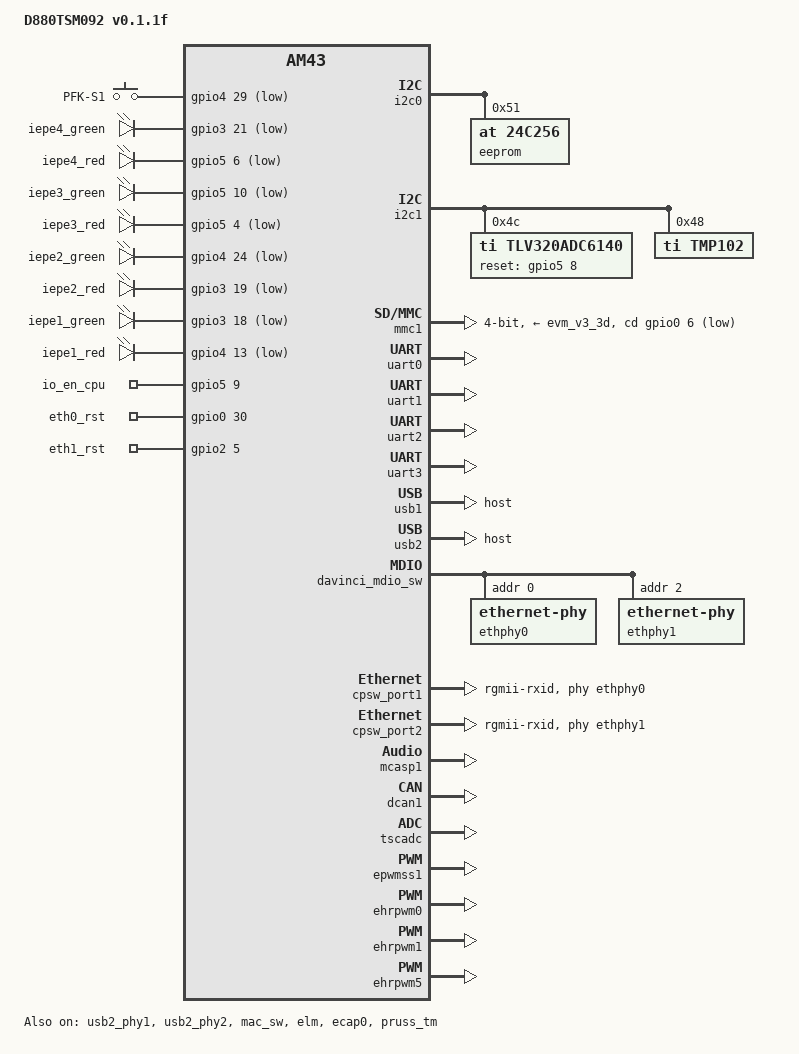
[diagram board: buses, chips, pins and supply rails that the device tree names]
/*
 * MIS www.mistec.de SO-DIMM D880 TSM Modul 092
 * Copyright (C) 2015 - http://www.mistec.de Robert Woerle
 *
 * Copied from arch/arm/boot/dts/am437x-gp-evm.dts which has
 * Copyright (C) 2013 Texas Instruments Incorporated - http://www.ti.com/
 *
 * This program is free software; you can redistribute it and/or modify
 * it under the terms of the GNU General Public License version 2 as
 * published by the Free Software Foundation.
 */

/* AM437x TSM Mistec */

/dts-v1/;

#include "am437x-misdimm.dtsi"
#include <dt-bindings/pinctrl/am43xx.h>
#include <dt-bindings/pwm/pwm.h>
#include <dt-bindings/interrupt-controller/irq.h>

/ {
	model = "D880TSM092 v0.1.1f";
	compatible = "ti,am4372","ti,am43";

	aliases {
		serial1 = &uart1;
		serial2 = &uart2;
		serial3 = &uart3;
		rtc0 = &rtc;
	};

	sound0: sound0 {
		compatible = "simple-audio-card";
		simple-audio-card,name = "D880TSM092";
		#sound-dai-cells = <0>;
		simple-audio-card,dai-link@0 {
			format = "i2s";
			bitclock-master = <&sound0_master>;
			frame-master = <&sound0_master>;
			sound0_master: cpu {
				sound-dai = <&mcasp1>;
				system-clock-frequency = <12000000>;

				dai-tdm-slot-num = <4>;
				dai-tdm-slot-width = <32>;
				dai-tdm-slot-tx-mask = <1 1 1 1>;
				dai-tdm-slot-rx-mask = <1 1 1 1>;
			};

			codec {
				sound-dai = <&tlv320adc6140>;
				system-clock-frequency = <12000000>;
			};
		};
	};

	S2_IN {
		pinctrl-names = "default";
		pinctrl-0 = <&timer7_pin>;
		timer = <&timer7>;
		compatible = "cnt-dmtimer";
		status = "okay";
	};

	N1_IN {
		pinctrl-names = "default";
		pinctrl-0 = <&timer6_pin>;
		timer = <&timer6>;
		compatible = "cnt-dmtimer";
		status = "okay";
	};

	N2_IN {
		pinctrl-names = "default";
		pinctrl-0 = <&timer5_pin>;
		timer = <&timer5>;
		compatible = "cnt-dmtimer";
		status = "okay";
	};

	gpio-keys {
		compatible = "gpio-keys";

		/* 0x224 P600_186 AD20 cam0_data7.gpio4_29 TEST */
		SW1 {
			label = "PFK-S1";
			linux,code = <59>; /* F1 0xffbe */
			gpios = <&gpio4 29 GPIO_ACTIVE_LOW>;
			debounce-interval = <5>;
		};
	};

	leds {
		compatible = "gpio-leds";

		/* 0x1ac P600_162 L24  mcasp0_ahclkx.gpio3_21 IEPE4_G */
		led_iepe4_g {
			label = "iepe4_green";
			gpios = <&gpio3 21 GPIO_ACTIVE_LOW>;
			linux,default-trigger = "off";
		};

		/* 0x258 P600_164 P24  spi4_d1.gpio5_6 IEPE4_R */
		led_iepe4_r {
			label = "iepe4_red";
			gpios = <&gpio5 6 GPIO_ACTIVE_LOW>;
			linux,default-trigger = "off";
		};

		/* 0x240 P600_170 G20  gpio5_10.gpio5_10 IEPE3_G */
		led_iepe3_g {
			label = "iepe3_green";
			gpios = <&gpio5 10 GPIO_ACTIVE_LOW>;
			linux,default-trigger = "off";
		};

		/* 0x250 P600_172 P25 spi4_sclk.gpio5_4 IEPE3_R*/
		led_iepe3_r {
			label = "iepe3_red";
			gpios = <&gpio5 4 GPIO_ACTIVE_LOW>;
			linux,default-trigger = "off";
		};

		/* 0x220 P600_174 AE20 cam0_data6.gpio4_28 IEPE2_G */
		led_iepe2_g {
			label = "iepe2_green";
			gpios = <&gpio4 24 GPIO_ACTIVE_LOW>;
			linux,default-trigger = "off";
		};

		/* 0x1a4 P600_176 K23  mcasp0_fsr.gpio3_19 IEPE2_R */
		led_iepe2_r {
			label = "iepe2_red";
			gpios = <&gpio3 19 GPIO_ACTIVE_LOW>;
			linux,default-trigger = "off";
		};

		/* 0x1a0 P600_180 L23  mcasp0_aclkr.gpio3_18 IEPE1_G */
		led_iepe1_g {
			label = "iepe1_green";
			gpios = <&gpio3 18 GPIO_ACTIVE_LOW>;
			linux,default-trigger = "off";
		};

		/* 0x1e4 P600_182 AB25 cam1_wen.gpio4_13 IEPE1_R */
		led_iepe1_r {
			label = "iepe1_red";
			gpios = <&gpio4 13 GPIO_ACTIVE_LOW>;
			linux,default-trigger = "off";
		};

		/* 0x23c P600_142 F24 143 gpio5_9.gpio5_9 */
		io_en_cpu {
			label = "io_en_cpu";
			gpios = <&gpio5 9 GPIO_ACTIVE_HIGH>;
			linux,default-trigger = "default-on";
		};

		/* 0x070 P600_178 A2 gpmc_wait0.gpio0_30 ETH1_RST */
		eth0_phy_rst {
			label = "eth0_rst";
			gpios = <&gpio0 30 GPIO_ACTIVE_HIGH>;
			linux,default-trigger = "default-off";
		};

		/* P600_156 C10  gpmc_be0n_cle.gpio2_5 ETH2_RST */
		eth1_phy_rst {
			label = "eth1_rst";
			gpios = <&gpio2 5 GPIO_ACTIVE_HIGH>;
			linux,default-trigger = "default-off";
		};
	};
};

&am43xx_pinmux {
	pinctrl-names = "default";
	pinctrl-0 = <&sodimm_pins &unused_pins>;


	sodimm_pins: sodimm_pins {
		pinctrl-single,pins = <

			/* ClassName ADC01 */
			/* P600_25 AA12 ADC0_AIN0 */
			/* P600_27 Y12  ADC0_AIN1 */
			/* P600_29 Y13  ADC0_AIN2 */
			/* P600_31 AA13 ADC0_AIN3 */
			/* P600_33 AB13 ADC0_AIN4 */
			/* P600_35 AC13 ADC0_AIN5 */
			/* P600_37 AD13 ADC0_AIN6 */
			/* P600_39 AE13 ADC0_AIN7 */

			/* P600_26 AC16 ADC1_AIN0 */
			/* P600_28 AB16 ADC1_AIN1 */
			/* P600_30 AA16 ADC1_AIN2 */
			/* P600_32 AB15 ADC1_AIN3 */
			/* P600_34 AA15 ADC1_AIN4 */
			/* P600_36 Y15  ADC1_AIN5 */
			/* P600_38 AE16 ADC1_AIN6 */
			/* P600_40 AD16 ADC1_AIN7 */


			0x16C (PIN_OUTPUT_PULLDOWN | MUX_MODE7) /* P600_58 J25 uart0_rtsn.gpio1_9 */
			0x168 (PIN_OUTPUT_PULLDOWN | MUX_MODE7) /* P600_60 L25 uart0_ctsn.gpio1_8 */

			0x0ec (PIN_INPUT_PULLDOWN | MUX_MODE7) /* P600_73  A24 dss_acbias.gpio2_25 */
			0x0e0 (PIN_INPUT_PULLDOWN | MUX_MODE7) /* P600_74  B23 dss_vsync.gpio2_22 */
			0x0e4 (PIN_INPUT_PULLDOWN | MUX_MODE7) /* P600_75  B23 dss_hsync.gpio2_23 */
			0x0e8 (PIN_INPUT_PULLDOWN | MUX_MODE7) /* P600_76  A22 dss_pclk.gpio2_24 */

			0x0b4 (PIN_INPUT_PULLDOWN | MUX_MODE7) /* P600_82  B20 dss_data5.gpio2_11 */
			0x0b8 (PIN_INPUT_PULLDOWN | MUX_MODE7) /* P600_83  C20 dss_data6.gpio2_12 */
			0x0bc (PIN_INPUT_PULLDOWN | MUX_MODE7) /* P600_84  E19 dss_data7.gpio2_13 */
			0x0c0 (PIN_INPUT_PULLDOWN | MUX_MODE7) /* P600_85  A19 dss_data8.gpio2_14 */

			0x0c8 (PIN_INPUT_PULLDOWN | MUX_MODE7) /* P600_87  A18 dss_data10.gpio2_16 */

			0x0d0 (PIN_INPUT_PULLDOWN | MUX_MODE7) /* P600_89  C19 dss_data12.gpio0_8 */
			0x0d8 (PIN_INPUT_PULLDOWN | MUX_MODE7) /* P600_91  C17 dss_data14.gpio0_10 */

			/* ClassName:SPI */
			0x190 (PIN_INPUT_PULLDOWN | MUX_MODE7) /* P600_106 N24  mcasp0_aclkx.gpio3_14 */
			0x194 (PIN_INPUT_PULLDOWN | MUX_MODE7) /* P600_108 N22  mcasp0_fsx.gpio3_15 */
			0x198 (PIN_INPUT_PULLDOWN | MUX_MODE7) /* P600_110 H23  mcasp0_axr0.gpio3_16 */
			0x19c (PIN_INPUT_PULLDOWN | MUX_MODE7) /* P600_112 M24  mcasp0_ahclkr.gpio3_17 */
			0x1d8 (PIN_INPUT_PULLDOWN | MUX_MODE7) /* P600_114 AC23 cam1_vd.gpio4_10 */
			0x1dc (PIN_INPUT_PULLDOWN | MUX_MODE7) /* P600_116 AE21 cam1_pclk.gpio4_11 */

			/* ClassName:GPIOS */
			0x070 (PIN_OUTPUT_PULLDOWN | MUX_MODE7) /* P600_178 A2 gpmc_wait0.gpio0_30 ETH1_RST*/
			0x074 (PIN_INPUT_PULLDOWN | MUX_MODE7) /* P600_150 B3   gpmc_wpn.gpio0_31 UART2_RI */
			0x078 (PIN_INPUT_PULLDOWN | MUX_MODE7) /* P600_152 A3   gpmc_be1n.gpio1_28 USB0_nOC */
			0x07c (PIN_INPUT_PULLDOWN | MUX_MODE7) /* P600_146 A8   gpmc_csn0.gpio1_29 UART 1_RI */
			0x090 (PIN_OUTPUT_PULLDOWN | MUX_MODE7) /* P600_144 A9 gpmc_advn_ale.gpio2_2 S1_OUT */
			0x09c (PIN_OUTPUT_PULLDOWN | MUX_MODE7) /* P600_156 C10  gpmc_be0n_cle.gpio2_5 ETH2_RST */
			0x154 (PIN_INPUT_PULLDOWN | MUX_MODE7) /* P600_154 T22  spi0_d0.gpio0_3 USB1_nOC */
			0x1ac (PIN_OUTPUT_PULLDOWN | MUX_MODE7) /* P600_162 L24  mcasp0_ahclkx.gpio3_21 IEPE4_R */
			0x1f0 (PIN_INPUT_PULLDOWN | MUX_MODE7) /* P600_50 AD21 cam1_data2.gpio4_16 */
			0x200 (PIN_INPUT_PULLDOWN | MUX_MODE7) /* P600_49  AD23 cam1_data6.gpio4_20 */
			0x218 (PIN_OUTPUT_PULLDOWN | MUX_MODE7)/* P600_148 AE19 cam0_data4.gpio4_26 S2_OUT */
			0x220 (PIN_OUTPUT_PULLDOWN | MUX_MODE7) /* P600_174 AE20 cam0_data6.gpio4_28 IEPE2_G */
			/* 0x224 (PIN_INPUT_PULLDOWN | MUX_MODE7)  P600_186 AD20 cam0_data7.gpio4_29 TEST */
			0x230 (PIN_INPUT_PULLDOWN | MUX_MODE7) 	/* P600_59 H22 uart3_ctsn.gpio5_0 */
			0x258 (PIN_OUTPUT_PULLDOWN | MUX_MODE7) /* P600_164 P24  spi4_d1.gpio5_6 IEPE4_G */
			0x264 (PIN_OUTPUT_PULLDOWN | MUX_MODE7) /* P600_158 P22  spi2_d0.gpio3_22 */
			0x278 (PIN_OUTPUT_PULLUP | MUX_MODE7) /* P600_166 H20  clkreq.gpio0_24 LCD_OFF */

			0x1cc (PIN_INPUT_PULLDOWN | MUX_MODE7) /* P600_93  AC24 cam1_data9.gpio4_7 AI1_C */
			0x1c8 (PIN_INPUT_PULLDOWN | MUX_MODE7) /* P600_94  AA19 cam0_data9.gpio4_6 AI8_C */
			0x1c4 (PIN_INPUT_PULLDOWN | MUX_MODE7) /* P600_95  AB19 cam0_data8.gpio4_5 AI2_C */
			0x1c0 (PIN_INPUT_PULLDOWN | MUX_MODE7) /* P600_96  AC20 can0_pclk.gpio4_4  AI7_C */
			0x1bc (PIN_INPUT_PULLDOWN | MUX_MODE7) /* P600_97  AD17 cam0_wen.gpio4_3   AI3_C */
			0x1b8 (PIN_INPUT_PULLDOWN | MUX_MODE7) /* P600_98  AC18 cam0_field.gpio4_2 AI6_C */
			0x1b4 (PIN_INPUT_PULLDOWN | MUX_MODE7) /* P600_99  AD18 cam0_vd.gio4_1     AI4_C */
			0x1b0 (PIN_INPUT_PULLDOWN | MUX_MODE7) /* P600_100 AE17 cam0_hd.gpio4_0    AI5_C */

			0x0a0 (PIN_INPUT_PULLDOWN | MUX_MODE7) /* P600_77  B22 dss_data0.gpio2_6  DATA0 */
			0x0a4 (PIN_INPUT_PULLDOWN | MUX_MODE7) /* P600_78  A21 dss_data1.gpio2_7  DATA1 */
			0x0a8 (PIN_INPUT_PULLDOWN | MUX_MODE7) /* P600_79  B21 dss_data2.gpio2_8  DATA2 */
			0x0ac (PIN_INPUT_PULLDOWN | MUX_MODE7) /* P600_80  C21 dss_data3.gpio2_9  DATA3 */
			0x0b0 (PIN_INPUT_PULLDOWN | MUX_MODE7) /* P600_81  A20 dss_data4.gpio2_10 DATA4 */

			0x0c4 (PIN_INPUT_PULLDOWN | MUX_MODE7) /* P600_86  B19 dss_data9.gpio2_15  DO4 */
			0x0cc (PIN_INPUT_PULLDOWN | MUX_MODE7) /* P600_88  B18 dss_data11.gpio2_17 DO3 */
			0x0d4 (PIN_INPUT_PULLDOWN | MUX_MODE7) /* P600_90  D19 dss_data13.gpio0_9  DO2 */
			0x0dc (PIN_INPUT_PULLDOWN | MUX_MODE7) /* P600_92  D17 dss_data15.gpio0_11 DO1 */
		>;
	};

	tlv320adc_pins: tlv320adc_pins {
		pinctrl-single,pins = <
			0x238 (PIN_OUTPUT_PULLDOWN | MUX_MODE7) /* P600_140 D25 142 gpio5_8.gpio5_8 RSTADC */
		>;
	};

	mmc1_pins: pinmux_mmc1_pins {
		pinctrl-single,pins = <
			0x100 (PIN_INPUT_PULLUP | MUX_MODE0) /* mmc0_clk.mmc0_clk */
			0x104 (PIN_INPUT_PULLUP | MUX_MODE0) /* mmc0_cmd.mmc0_cmd */
			0x0f0 (PIN_INPUT_PULLUP | MUX_MODE0) /* mmc0_dat0.mmc0_dat0 */
			0x0f4 (PIN_INPUT_PULLUP | MUX_MODE0) /* mmc0_dat1.mmc0_dat1 */
			0x0f8 (PIN_INPUT_PULLUP | MUX_MODE0) /* mmc0_dat2.mmc0_dat2 */
			0x0fc (PIN_INPUT_PULLUP | MUX_MODE0) /* mmc0_dat3.mmc0_dat3 */
			0x160 (PIN_INPUT_PULLDOWN | MUX_MODE7) /* spi0_cs1.mmc0_sdcd HACK to card detec both */
		>;
	};

	cpsw_default: cpsw_default {
		pinctrl-single,pins = <
			/* ClassName:ETH1 Slave 1 */
			0x114 (PIN_OUTPUT_PULLDOWN | MUX_MODE2)	/* P600_119 A13 mii1_txen.rgmii1_tctl */
			0x118 (PIN_INPUT_PULLDOWN | MUX_MODE2)	/* P600_109 A15 mii1_rxdv.rgmii1_rctl */
			0x11c (PIN_OUTPUT_PULLDOWN | MUX_MODE2)	/* P600_123 C16 mii1_txd3.rgmii1_td3 */
			0x120 (PIN_OUTPUT_PULLDOWN | MUX_MODE2)	/* P600_125 C13 mii1_txd2.rgmii1_td2 */
			0x124 (PIN_OUTPUT_PULLDOWN | MUX_MODE2)	/* P600_127 A14 mii1_txd1.rgmii1_td1 */
			0x128 (PIN_OUTPUT_PULLDOWN | MUX_MODE2)	/* P600_129 B15 mii1_txd0.rgmii1_td0 */
			0x12c (PIN_OUTPUT_PULLDOWN | MUX_MODE2)	/* P600_121 D14 mii1_txclk.rgmii1_tclk */
			0x130 (PIN_INPUT_PULLDOWN | MUX_MODE2)	/* P600_107 D13 mii1_rxclk.rgmii1_rclk */
			0x134 (PIN_INPUT_PULLDOWN | MUX_MODE2)	/* P600_117 C14 mii1_rxd3.rgmii1_rxd3 */
			0x138 (PIN_INPUT_PULLDOWN | MUX_MODE2)	/* P600_115 E16 mii1_rxd2.rgmii1_rxd2 */
			0x13c (PIN_INPUT_PULLDOWN | MUX_MODE2)	/* P600_113 B16 mii1_rxd1.rgmii1_rxd1 */
			0x140 (PIN_INPUT_PULLDOWN | MUX_MODE2)	/* P600_111 F17 mii1_rxd0.rgmii1_rd0 */

			/* ClassName:ETH2 Slave 2 */
			0x040 (PIN_OUTPUT_PULLDOWN | MUX_MODE2)	/* P600_153 C3 gpmc_a0.rgmii2_tctl */
			0x044 (PIN_INPUT_PULLDOWN | MUX_MODE2)	/* P600_143 C5 gpmc_a1.rgmii2_rctl */
			0x048 (PIN_OUTPUT_PULLDOWN | MUX_MODE2)	/* P600_157 C6 gpmc_a2.rgmii2_td3 */
			0x04c (PIN_OUTPUT_PULLDOWN | MUX_MODE2)	/* P600_159 A4 gpmc_a3.rgmii2_td2 */
			0x050 (PIN_OUTPUT_PULLDOWN | MUX_MODE2)	/* P600_161 D7 gpmc_a4.rgmii2_td1 */
			0x054 (PIN_OUTPUT_PULLDOWN | MUX_MODE2)	/* P600_163 E7 gpmc_a5.rgmii2_td0 */
			0x058 (PIN_OUTPUT_PULLDOWN | MUX_MODE2)	/* P600_155 E8 gpmc_a6.rgmii2_tclk */
			0x05c (PIN_INPUT_PULLDOWN | MUX_MODE2)	/* P600_141 F6 gpmc_a7.rgmii2_rclk */
			0x060 (PIN_INPUT_PULLDOWN | MUX_MODE2)	/* P600_151 F7 gpmc_a8.rgmii2_rd3 */
			0x064 (PIN_INPUT_PULLDOWN | MUX_MODE2)	/* P600_149 B4 gpmc_a9.rgmii2_rd2 */
			0x068 (PIN_INPUT_PULLDOWN | MUX_MODE2)	/* P600_147 G8 gpmc_a10.rgmii2_rd1 */
			0x06c (PIN_INPUT_PULLDOWN | MUX_MODE2)	/* P600_145 D8 gpmc_a11.rgmii2_rd0 */
		>;
	};

	davinci_mdio_default: davinci_mdio_default {
		pinctrl-single,pins = <
			/* ClassName:ETH1  MDIO */
			0x148 (PIN_INPUT_PULLUP | SLEWCTRL_FAST | MUX_MODE0) /* P600_103 + P600_137 A17 mdio_data.mdio_data */
			0x14c (PIN_OUTPUT_PULLUP | MUX_MODE0)				 /* P600_105 + P600_139 B17 mdio_clk.mdio_clk */
		>;
	};

	mcasp1_pins: mcasp1_pins {
		pinctrl-single,pins = <
			0x144 (PIN_INPUT_PULLDOWN | MUX_MODE4) /* P600_120 A16  rmii1_ref_clk.mcasp1_axr3  */
			0x108 (PIN_OUTPUT_PULLDOWN | MUX_MODE4) /* P600_122 D16  mii1_col.mcasp1_axr2 */
			0x10c (PIN_INPUT_PULLDOWN | MUX_MODE4) /* P600_126 B14  mii1_crs.mcasp1_aclkx */
			0x110 (PIN_INPUT_PULLDOWN | MUX_MODE4) /* P600_128 B13  mii1_rx_er.mcasp1_fsx */
			0x270 (PIN_INPUT_PULLDOWN | MUX_MODE3) /* P600_124 D24  xdma_event_intr0.clkout1 */
		>;
	};

	timer7_pin: timer7_pin {
		pinctrl-single,pins = <
			0x274 (PIN_INPUT | MUX_MODE4) /* P600_138 C24 157 xdma_event_intr1.timer_7 S2 IN */
		>;
	};

	timer6_pin: timer6_pin {
		pinctrl-single,pins = <
			0x178 (PIN_INPUT | MUX_MODE1) /* P600_63 K22 uart1_ctsn.timer6 N1_IN */
		>;
	};

	timer5_pin: timer5_pin {
		pinctrl-single,pins = <
			/* ClassName:CAN */
			0x17c (PIN_INPUT | MUX_MODE1) /* P600_65 L22 uart1_rtsn.timer5 N2_IN */
		>;
	};

	dcan1_default: dcan1_default_pins {
		pinctrl-single,pins = <
			/* ClassName:CAN */
			0x180 (PIN_OUTPUT_PULLDOWN | MUX_MODE2) /* P600_67 K21 uart1_rxd.d_can1_tx */
			0x184 (PIN_INPUT_PULLUP | MUX_MODE2) 	/* P600_69 L21 uart1_txd.d_can1_rx */
		>;
	};

	uart0_pins_default: uart0_pins_default {
		pinctrl-single,pins = <
			0x170 (PIN_INPUT_PULLUP | SLEWCTRL_FAST | DS0_PULL_UP_DOWN_EN | MUX_MODE0) /* P600_56 K25 uart0_rxd.uart0_rxd */
			0x174 (PIN_INPUT | PULL_DISABLE | SLEWCTRL_FAST | DS0_PULL_UP_DOWN_EN | MUX_MODE0) /* P600_54 J24 uart0_txd.uart0_txd */
		>;
	};

	uart1_pins_default: uart1_pins_default {
		pinctrl-single,pins = <
			0x1e8 (PIN_INPUT_PULLUP | SLEWCTRL_FAST | DS0_PULL_UP_DOWN_EN | MUX_MODE1) /* P600_44 AB20 cam1_data0.uart1_rxd */
			0x1ec (PIN_INPUT | PULL_DISABLE | SLEWCTRL_FAST | DS0_PULL_UP_DOWN_EN | MUX_MODE1) /* P600_46 AC21 cam1_data1.uart1_txd */
			0x1f4 (PIN_OUTPUT_PULLDOWN | MUX_MODE7) /* P600_48 AE22 cam1_data3.gpio4_17 RS485 Send-enable */
		>;
	};

	uart2_pins_default: uart2_pins_default {
		pinctrl-single,pins = <
			0x1f8 (PIN_INPUT_PULLUP | SLEWCTRL_FAST | DS0_PULL_UP_DOWN_EN | MUX_MODE2) /* P600_43  AD22 cam1_data4.uart2_rxd */
			0x1fc (PIN_INPUT | PULL_DISABLE | SLEWCTRL_FAST | DS0_PULL_UP_DOWN_EN | MUX_MODE2) /* P600_45  AE23 cam1_data5.uart2_txd */
			0x204 (PIN_OUTPUT_PULLDOWN | MUX_MODE7) /* P600_47  AE24 cam1_data7.gpio4_21 */
		>;
	};

	uart3_pins_default: uart3_pins_default {
		pinctrl-single,pins = <
			0x228 (PIN_INPUT | MUX_MODE0) 			/* P600_55 H25 uart3_rxd.uart3_rxd */
			0x22c (PIN_OUTPUT_PULLDOWN | MUX_MODE0) /* P600_53 H24 uart3_txd.uart3_txd */
		>;
	};


	ecap0_pins_default: backlight_pins_default {
		pinctrl-single,pins = <
			0x164 (MUX_MODE0) /* P600_104 G24 ecap0_pwm0_out.ecap0_pwm0_out S1 IN*/
		>;
	};

	ehrpwm0_pins_default: ehrpwm0_pins_default {
		pinctrl-single,pins = <
			0x150 (PIN_OUTPUT_PULLDOWN | MUX_MODE3) /* P600_160 P23  spi0_sclk.ehrpwm0A A01 */
		>;
	};

	ehrpwm1_pins_default: ehrpwm1_pins_default {
		pinctrl-single,pins = <
			0x1e0 (PIN_OUTPUT_PULLDOWN | MUX_MODE6)	/* P600_184 AC25 cam1_field.ehrpwm1B */
		>;
	};

	ehrpwm5_pins_default: ehrpwm5_pins_default {
		pinctrl-single,pins = <
			0x234 (PIN_OUTPUT_PULLDOWN | MUX_MODE6) /* P600_57 K24 uart3_rtsn.ehrpwm5B */
		>;
	};

	usb2_phy1_default: usb2_phy1_default {
		pinctrl-single,pins = <
			0x2c0 (DS0_PULL_UP_DOWN_EN | PIN_INPUT_PULLDOWN | MUX_MODE0)
		>;
	};

	usb2_phy2_default: usb2_phy2_default {
		pinctrl-single,pins = <
			0x2c4 (DS0_PULL_UP_DOWN_EN | PIN_OUTPUT_PULLDOWN | MUX_MODE0)	/* P600_201 F25   usb1_drvvbus.usb1_drvvbus */
		>;
	};
};

&i2c0 {
	eeprom@51 {
		compatible = "at,24c256";
		reg = <0x51>;
	};
};

&i2c1 {
	tlv320adc6140: tlv320adc6140@4c {
		#sound-dai-cells = <0>;
		compatible = "ti,tlv320adc6140";
		reg = <0x4c>;
		pinctrl-names = "default";
		pinctrl-0 = <&tlv320adc_pins>;
		ti,mic-bias-source = <6>;
		ti,vref-source = <0>;
		ti,pdm-edge-select = <0 1 0 1>;
		ti,gpi-config = <2 1 1 1>;
		ti,gpio-config = <10 2>;
		ti,gpo-config-1 = <0 0>;
		ti,gpo-config-2 = <0 0>;
		reset-gpios = <&gpio5 8 GPIO_ACTIVE_HIGH>;
	};

	tmp102: tmp102@48 {
		compatible = "ti,tmp102";
		reg = <0x48>;
		#thermal-sensor-cells = <1>;
	};
};

&mmc1 {
	status = "okay";
	vmmc-supply = <&evm_v3_3d>;
	bus-width = <4>;
	pinctrl-names = "default";
	pinctrl-0 = <&mmc1_pins>;
	cd-gpios = <&gpio0 6 GPIO_ACTIVE_LOW>;
	cd-debounce-delay-ms = <2>;
};

&uart0 {
	status = "okay";
	pinctrl-names = "default";
	pinctrl-0 = <&uart0_pins_default>;
	clock-frequency = <48000000>;
};

&uart1 {
	status = "okay";
	pinctrl-names = "default";
	pinctrl-0 = <&uart1_pins_default>;
	clock-frequency = <48000000>;
	rts-gpio = <&gpio4 17 GPIO_ACTIVE_HIGH>;
	linux,rs485-enabled-at-boot-time;
	rs485-rts-active-high;
	rs485-rts-delay = <0 0>;		// in milliseconds
};

&uart2 {
	status = "okay";
	pinctrl-names = "default";
	pinctrl-0 = <&uart2_pins_default>;
	clock-frequency = <48000000>;
	rts-gpio = <&gpio4 21 GPIO_ACTIVE_HIGH>;
	linux,rs485-enabled-at-boot-time;
	rs485-rts-active-high;
	rs485-rts-delay = <0 0>;		// in milliseconds
};

&uart3 {
	status = "okay";
	pinctrl-names = "default";
	pinctrl-0 = <&uart3_pins_default>;
	clock-frequency = <48000000>;
};

&dwc3_1 {
	pinctrl-names = "default";
	pinctrl-0 = <&usb2_phy1_default>;
};

&usb1 {
	dr_mode = "host";
	status = "okay";
};

&dwc3_2 {
	pinctrl-names = "default";
	pinctrl-0 = <&usb2_phy2_default>;
};

&usb2 {
	dr_mode = "host";
	status = "okay";
};

&usb2_phy1 {
	status = "okay";
};

&usb2_phy2 {
	status = "okay";
};

&mac_sw {
	pinctrl-names = "default";
	pinctrl-0 = <&cpsw_default>;
	status = "okay";
};

&davinci_mdio_sw {
	pinctrl-names = "default";
	pinctrl-0 = <&davinci_mdio_default>;
	ethphy0: ethernet-phy@0 {
		reg = <0>;
	};

	ethphy1: ethernet-phy@2 {
		reg = <2>;
	};
};

&cpsw_port1 {
	phy-handle = <&ethphy0>;
	phy-mode = "rgmii-rxid";
	ti,dual-emac-pvid = <1>;
};

&cpsw_port2 {
	phy-handle = <&ethphy1>;
	phy-mode = "rgmii-rxid";
	ti,dual-emac-pvid = <2>;
};

&elm {
	status = "okay";
};

&mcasp1 {
	#sound-dai-cells = <0>;
	pinctrl-names = "default";
	pinctrl-0 = <&mcasp1_pins>;

	status = "okay";

	op-mode = <0>; /* MCASP_IIS_MODE */
	tdm-slots = <2>;
	/* 4 serializers */
	serial-dir = <  /* 0: INACTIVE, 1: TX, 2: RX */
		0 0 1 2
	>;
	tx-num-evt = <32>;
	rx-num-evt = <32>;
};

&dss {
	status = "disabled";
};

&dcan0 {
	status = "disabled";
};

&dcan1 {
	pinctrl-names = "default";
	pinctrl-0 = <&dcan1_default>;
	status = "okay";
};

&tscadc {
	status = "okay";
	adc {
		ti,adc-channels = <0 1 2 3>;
	};
};

&ecap0 {
	status = "okay";
	pinctrl-names = "default";
	pinctrl-0 = <&ecap0_pins_default>;
};

&epwmss1 {
	status = "okay";
};

&ehrpwm0{
	status = "okay";
	pinctrl-names = "default";
	pinctrl-0 = <&ehrpwm0_pins_default>;
};

&ehrpwm1{
	status = "okay";
	pinctrl-names = "default";
	pinctrl-0 = <&ehrpwm1_pins_default>;
};

&ehrpwm5{
	status = "okay";
	pinctrl-names = "default";
	pinctrl-0 = <&ehrpwm5_pins_default>;
};

&pruss_tm {
	status = "okay";
/*
	pruss1: pruss@54400000 {
		status = "okay";
	};

	pruss0: pruss@54440000 {
		status = "okay";
	};*/
};
